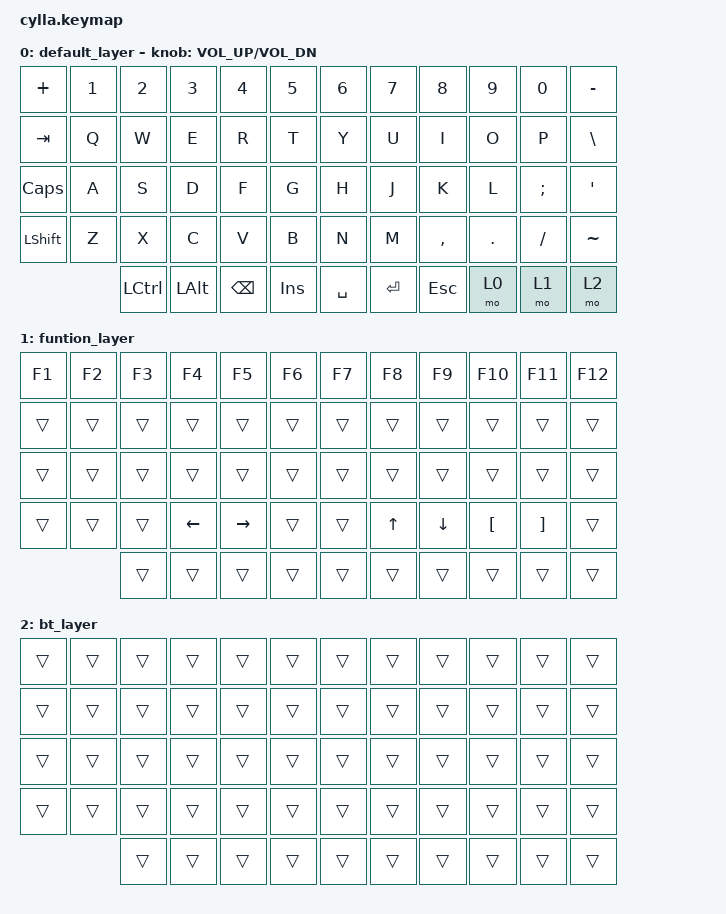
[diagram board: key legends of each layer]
/*
 * Copyright (c) 2020 The ZMK Contributors
 *
 * SPDX-License-Identifier: MIT
 */

#include <behaviors.dtsi>
#include <dt-bindings/zmk/keys.h>

/ {
    keymap {
        compatible = "zmk,keymap";

        default_layer {
            // ------------------------------------------------------------------------------------------------------------
            // |   +   |  1  |  2  |  3   |  4   |  5   |                   |  6   |  7    |  8    |  9   |   0   |   -   |
            // |  TAB  |  Q  |  W  |  E   |  R   |  T   |                   |  Y   |  U    |  I    |  O   |   P   |   \   |
            // |  CAPS |  A  |  S  |  D   |  F   |  G   |                   |  H   |  J    |  K    |  L   |   ;   |   '   |
            // | SHIFT |  Z  |  X  |  C   |  V   |  B   |                   |  N   |  M    |  ,    |  .   |   /   |   ~   |
            //               |CTRL | ALT  | BSPC | INS  |  SPACE |  | ENTER | ESC  | BASE  | FUN   | L3   |

            bindings = <
  &kp PLUS  &kp N1     &kp N2    &kp N3    &kp N4   &kp N5              &kp N6   &kp N7     &kp N8   &kp N9    &kp N0  &kp MINUS
   &kp TAB   &kp Q      &kp W     &kp E     &kp R    &kp T               &kp Y    &kp U      &kp I    &kp O     &kp P   &kp BSLH
  &kp CAPS   &kp A      &kp S     &kp D     &kp F    &kp G               &kp H    &kp J      &kp K    &kp L  &kp SEMI    &kp SQT
 &kp LSHFT   &kp Z      &kp X     &kp C     &kp V    &kp B               &kp N    &kp M  &kp COMMA  &kp DOT  &kp FSLH  &kp TILDE
                    &kp LCTRL  &kp LALT  &kp BSPC  &kp INS  &kp SPACE  &kp RET  &kp ESC      &mo 0    &mo 1     &mo 2
            >;

            sensor-bindings = <&inc_dec_kp C_VOL_UP C_VOL_DN>;
        };

        funtion_layer {
            bindings = <
 &kp F1  &kp F2  &kp F3    &kp F4     &kp F5  &kp F6          &kp F7  &kp F8    &kp F9           &kp F10            &kp F11  &kp F12
 &trans  &trans  &trans    &trans     &trans  &trans          &trans  &trans    &trans            &trans             &trans   &trans
 &trans  &trans  &trans    &trans     &trans  &trans          &trans  &trans    &trans            &trans             &trans   &trans
 &trans  &trans  &trans  &kp LEFT  &kp RIGHT  &trans          &trans  &kp UP  &kp DOWN  &kp LEFT_BRACKET  &kp RIGHT_BRACKET   &trans
                 &trans    &trans     &trans  &trans  &trans  &trans  &trans    &trans            &trans             &trans
            >;
        };

        bt_layer {
            bindings = <
 &trans  &trans  &trans  &trans  &trans  &trans          &trans  &trans  &trans  &trans  &trans  &trans
 &trans  &trans  &trans  &trans  &trans  &trans          &trans  &trans  &trans  &trans  &trans  &trans
 &trans  &trans  &trans  &trans  &trans  &trans          &trans  &trans  &trans  &trans  &trans  &trans
 &trans  &trans  &trans  &trans  &trans  &trans          &trans  &trans  &trans  &trans  &trans  &trans
                 &trans  &trans  &trans  &trans  &trans  &trans  &trans  &trans  &trans  &trans
            >;
        };
    };
};
